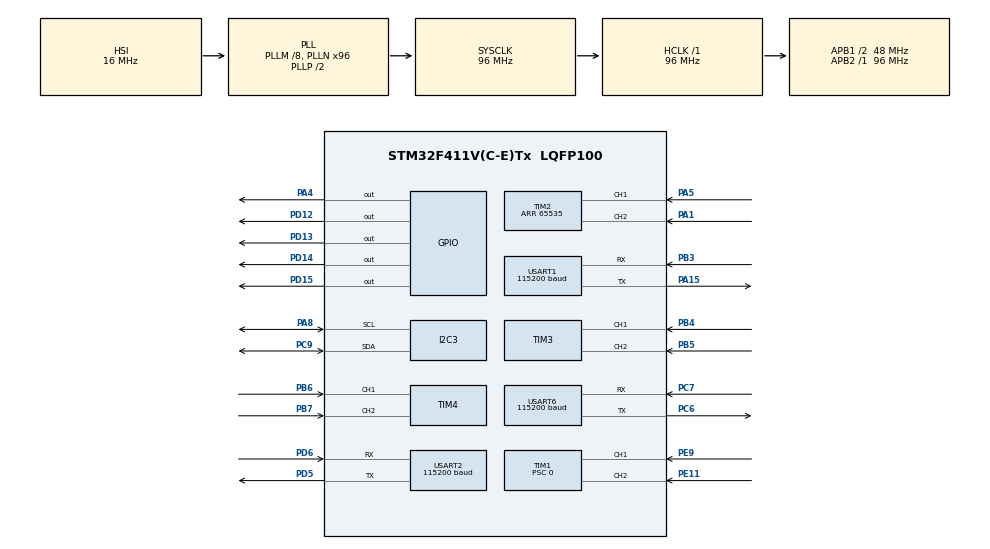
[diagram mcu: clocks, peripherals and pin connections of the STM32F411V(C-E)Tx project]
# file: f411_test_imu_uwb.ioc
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Mcu.Family=STM32F4
Mcu.Name=STM32F411V(C-E)Tx
Mcu.Package=LQFP100
NVIC.PriorityGroup=NVIC_PRIORITYGROUP_4
NVIC.TIM1_BRK_TIM9_IRQn=true\:2\:0\:true\:false\:true\:true\:true\:true
NVIC.USART1_IRQn=true\:0\:0\:true\:false\:true\:true\:true\:true
NVIC.USART2_IRQn=true\:1\:0\:true\:false\:true\:true\:true\:true
PA0-WKUP.Mode=SYS_WakeUp0
PA0-WKUP.Signal=SYS_WKUP
PA1.Signal=S_TIM2_CH2
PA13.Mode=Serial_Wire
PA13.Signal=SYS_JTMS-SWDIO
PA14.Mode=Serial_Wire
PA14.Signal=SYS_JTCK-SWCLK
PA15.Mode=Asynchronous
PA15.Signal=USART1_TX
PA4.Signal=GPIO_Output
PA5.Signal=S_TIM2_CH1_ETR
PA8.Mode=I2C
PA8.Signal=I2C3_SCL
PB3.Mode=Asynchronous
PB3.Signal=USART1_RX
PB4.Signal=S_TIM3_CH1
PB5.Signal=S_TIM3_CH2
PB6.Signal=S_TIM4_CH1
PB7.Signal=S_TIM4_CH2
PC6.Mode=Asynchronous
PC6.Signal=USART6_TX
PC7.Mode=Asynchronous
PC7.Signal=USART6_RX
PC9.Mode=I2C
PC9.Signal=I2C3_SDA
PD12.Signal=GPIO_Output
PD13.Signal=GPIO_Output
PD14.Signal=GPIO_Output
PD15.Signal=GPIO_Output
PD5.Mode=Asynchronous
PD5.Signal=USART2_TX
PD6.Mode=Asynchronous
PD6.Signal=USART2_RX
PE11.Signal=S_TIM1_CH2
PE9.Signal=S_TIM1_CH1
PH0\ -\ OSC_IN.Mode=HSE-External-Oscillator
PH0\ -\ OSC_IN.Signal=RCC_OSC_IN
PH1\ -\ OSC_OUT.Mode=HSE-External-Oscillator
PH1\ -\ OSC_OUT.Signal=RCC_OSC_OUT
ProjectManager.HeapSize=0x200
ProjectManager.StackSize=0x400
ProjectManager.TargetToolchain=STM32CubeIDE
RCC.48MHZClocksFreq_Value=48000000
RCC.AHBFreq_Value=96000000
RCC.APB1CLKDivider=RCC_HCLK_DIV2
RCC.APB1Freq_Value=48000000
RCC.APB1TimFreq_Value=96000000
RCC.APB2Freq_Value=96000000
RCC.APB2TimFreq_Value=96000000
RCC.CortexFreq_Value=96000000
RCC.HCLKFreq_Value=96000000
RCC.HSE_VALUE=25000000
RCC.HSI_VALUE=16000000
RCC.LSE_VALUE=32768
RCC.PLLM=8
RCC.PLLN=96
RCC.SYSCLKFreq_VALUE=96000000
RCC.SYSCLKSource=RCC_SYSCLKSOURCE_PLLCLK
RCC.VCOOutputFreq_Value=192000000
SH.S_TIM1_CH1.0=TIM1_CH1,Encoder_Interface
SH.S_TIM1_CH2.0=TIM1_CH2,Encoder_Interface
SH.S_TIM2_CH1_ETR.0=TIM2_CH1,Encoder_Interface
SH.S_TIM2_CH2.0=TIM2_CH2,Encoder_Interface
SH.S_TIM3_CH1.0=TIM3_CH1,Encoder_Interface
SH.S_TIM3_CH2.0=TIM3_CH2,Encoder_Interface
SH.S_TIM4_CH1.0=TIM4_CH1,Encoder_Interface
SH.S_TIM4_CH2.0=TIM4_CH2,Encoder_Interface
TIM1.EncoderMode=TIM_ENCODERMODE_TI12
TIM1.Period=65535
TIM1.Prescaler=0
TIM2.EncoderMode=TIM_ENCODERMODE_TI12
TIM2.Period=65535
TIM3.EncoderMode=TIM_ENCODERMODE_TI12
TIM4.EncoderMode=TIM_ENCODERMODE_TI12
TIM9.Period=9999
TIM9.Prescaler=959
USART1.BaudRate=115200
USART1.VirtualMode=VM_ASYNC
USART2.BaudRate=115200
USART2.VirtualMode=VM_ASYNC
USART6.BaudRate=115200
USART6.VirtualMode=VM_ASYNC
VP_TIM9_VS_ClockSourceINT.Mode=Internal
board=custom

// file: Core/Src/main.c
/* USER CODE BEGIN Header */
/**
  ******************************************************************************
  * @file           : main.c
  * @brief          : Main program body
  ******************************************************************************
  * @attention
  *
  * Copyright (c) 2024 STMicroelectronics.
  * All rights reserved.
  *
  * This software is licensed under terms that can be found in the LICENSE file
  * in the root directory of this software component.
  * If no LICENSE file comes with this software, it is provided AS-IS.
  *
  ******************************************************************************
  */
/* USER CODE END Header */
#include "main.h"

/* USER CODE BEGIN Includes */
#include "stdio.h"
#include "stdlib.h"
#include "string.h"
#include "bno055_stm32.h"
#include "math.h"
/* USER CODE END Includes */

/* USER CODE BEGIN PTD */
int check = 0;

char rx_buffer[100];
uint8_t rx_index = 0;
uint8_t rx_data_1[1] = {0};
uint8_t command_1;
float w1, w2, w3, w4;
float w1_sim, w2_sim, w3_sim, w4_sim;
float vx, vy;
char wheel[50];

uint8_t gpsData[1];
uint8_t gps_index = 0;
uint8_t gps_buffer[50];

float d1_pre = 0, d2_pre = 0;
float d1 = 0, d2 = 0;
int d1_flag = 0, d2_flag = 0;
float gpsVal = 0;
float x_p = 0, y_p = 0;
float* p[] = {&d1, &d2};
float d1_calib = 0, d2_calib = 0;
float cos_a;
float a, b;
#define  c  3.0
#define  h  0.3
char* token1;
char* token2;

volatile short cnt1 = 0, cnt_pre1 = 0;
volatile short cnt2 = 0, cnt_pre2 = 0;
volatile short cnt3 = 0, cnt_pre3 = 0;
volatile short cnt4 = 0, cnt_pre4 = 0;
volatile float rate1 = 0, rate2 = 0, rate3 = 0, rate4 = 0;
char position[50];

volatile float yaw = 0;
volatile float roll = 0;
volatile float pitch = 0;
volatile float xq, yq, zq;
char angle[100];
/* USER CODE END PTD */

/* USER CODE BEGIN PD */
bno055_vector_t v;
bno055_vector_t v2;
/* USER CODE END PD */

I2C_HandleTypeDef hi2c3;

TIM_HandleTypeDef htim1;
TIM_HandleTypeDef htim2;
TIM_HandleTypeDef htim3;
TIM_HandleTypeDef htim4;
TIM_HandleTypeDef htim9;

UART_HandleTypeDef huart1;
UART_HandleTypeDef huart2;
UART_HandleTypeDef huart6;

void SystemClock_Config(void);
static void MX_GPIO_Init(void);
static void MX_TIM1_Init(void);
static void MX_USART2_UART_Init(void);
static void MX_TIM2_Init(void);
static void MX_TIM3_Init(void);
static void MX_TIM4_Init(void);
static void MX_USART6_UART_Init(void);
static void MX_USART1_UART_Init(void);
static void MX_I2C3_Init(void);
static void MX_TIM9_Init(void);

/* USER CODE BEGIN 0 */
void pos_xy(float da, float db)
{
	a = db*db - h*h;
	a = sqrt(a);
	b = da*da - h*h;
	b = sqrt(b);

	cos_a = (b*b + c*c - a*a) / (2*b*c);
	x_p = b*cos_a;
	if((1 - cos_a*cos_a) >= 0)
	{
	  y_p = b*sqrt(1 - cos_a*cos_a);
	}
}

void HAL_TIM_PeriodElapsedCallback(TIM_HandleTypeDef *htim)
{
	if(htim->Instance == TIM9)
	{
		cnt4 = __HAL_TIM_GET_COUNTER(&htim1);
		cnt1 = __HAL_TIM_GET_COUNTER(&htim2);
		cnt3 = __HAL_TIM_GET_COUNTER(&htim3);
		cnt2 = __HAL_TIM_GET_COUNTER(&htim4);
		rate1 = ((float)(cnt1 - cnt_pre1)*60*15)/(60*990*0.1);
		rate2 = ((float)(cnt2 - cnt_pre2)*60*15)/(60*990*0.1);
		rate3 = ((float)(cnt3 - cnt_pre3)*60*15)/(60*990*0.1);
		rate4 = ((float)(cnt4 - cnt_pre4)*60*15)/(60*990*0.1);
		cnt_pre1 = cnt1;
		cnt_pre2 = cnt2;
		cnt_pre3 = cnt3;
		cnt_pre4 = cnt4;

		v = bno055_getVectorEuler();
		yaw = v.x;
		//yaw = (yaw/360)*2*3.1416;
		if ((yaw >= 0) && (yaw < 180))
		{
			yaw = -(yaw/360)*2*3.1416;

		}
		else
		{
			yaw = 360-yaw;
			yaw = (yaw/360)*2*3.1416;

		}
		zq = (0.048/(4*0.6))*(-rate1 + rate2 + rate3 - rate4)*2*3.1416/60;

		//v2 = bno055_getVectorGyroscope();
		//zq = v2.z;
		//zq = (zq/360)*2*3.1416;

		sprintf(position,"E=%.2f;%.2f;%.2f;%.2f;%.2f;%.2f;%.2f;%.2f\r\n",rate1,rate2,rate3,rate4,x_p,y_p,yaw,zq);
		HAL_UART_Transmit(&huart2, (uint8_t *)position, strlen(position),100);

        //if (position[0] == 'E' && position[1] == '=')
        //{
        //    HAL_UART_Transmit(&huart2, (uint8_t *)position, strlen(position), 100);
        //}
	}
}

void HAL_UART_RxCpltCallback(UART_HandleTypeDef *huart)
{
	if(huart->Instance == huart2.Instance)
	{
        if (rx_data_1[0] == '\n')
        {
            rx_buffer[rx_index] = '\n';
            //command_1 = rx_buffer[0];
            HAL_UART_Transmit(&huart6, (uint8_t *)rx_buffer, strlen(rx_buffer), 100);
            //HAL_UART_Transmit_DMA(&huart6, (uint8_t *)rx_buffer, strlen(rx_buffer));
	        memset(rx_buffer, 0, 100);
            rx_index = 0;
            HAL_UART_Receive_IT(&huart2, rx_data_1, 1);
        }
        else
        {
            rx_buffer[rx_index++] = rx_data_1[0];
            HAL_UART_Receive_IT(&huart2, rx_data_1, 1);
        }
	}

	if(huart->Instance == huart1.Instance)
	{
		if (gpsData[0] == '\n')
		{
			//gps_buffer[gps_index] = '\n';
			if (gps_buffer[0] == 'A')
			{
				token1 = strtok((char*) gps_buffer, "A");
				d1_pre = atof(token1);
				if (d1_flag == 0)
				{
					d1 = atof(token1);
					d1_flag = 1;
				}
				if (fabs(d1-d1_pre)<2 && d1_pre != 0)
				{
					d1 = d1_pre;
					d1_calib = d1 - 0.496;
					//d1_pre = 0;
				}
			}

			if (gps_buffer[0] == 'B')
			{
				token2 = strtok((char*) gps_buffer, "B");
				d2_pre = atof(token2);
				if (d2_flag == 0)
				{
					d2 = atof(token2);
					d2_flag = 1;
				}
				if (fabs(d2-d2_pre) < 10 && d2_pre != 0)
				{
					d2 = d2_pre;
					d2_calib = d2 - 0.776;
					//d2_pre = 0;
				}
			}

			pos_xy(d1_calib, d2_calib);
			memset(gps_buffer, 0, 50);
			gps_index = 0;
			HAL_UART_Receive_IT(&huart1, gpsData, 1);
		}
		else
		{
			gps_buffer[gps_index++] = gpsData[0];
			HAL_UART_Receive_IT(&huart1, gpsData, 1);
		}
	}
}

/* USER CODE END 0 */

int main(void)
{

  /* MCU Configuration--------------------------------------------------------*/

  /* Reset of all peripherals, Initializes the Flash interface and the Systick. */
  HAL_Init();

  /* Configure the system clock */
  SystemClock_Config();

  /* Initialize all configured peripherals */
  MX_GPIO_Init();
  MX_TIM1_Init();
  MX_USART2_UART_Init();
  MX_TIM2_Init();
  MX_TIM3_Init();
  MX_TIM4_Init();
  MX_USART6_UART_Init();
  MX_USART1_UART_Init();
  MX_I2C3_Init();
  MX_TIM9_Init();
  /* USER CODE BEGIN 2 */

  HAL_GPIO_WritePin(GPIOD, GPIO_PIN_15, SET);
  HAL_GPIO_WritePin(GPIOD, GPIO_PIN_14, SET);
  HAL_GPIO_WritePin(GPIOD, GPIO_PIN_13, SET);
  HAL_GPIO_WritePin(GPIOD, GPIO_PIN_12, SET);

  HAL_TIM_Encoder_Start(&htim1, TIM_CHANNEL_1);
  HAL_TIM_Encoder_Start(&htim1, TIM_CHANNEL_2);
  HAL_TIM_Encoder_Start(&htim2, TIM_CHANNEL_1);
  HAL_TIM_Encoder_Start(&htim2, TIM_CHANNEL_2);
  HAL_TIM_Encoder_Start(&htim3, TIM_CHANNEL_1);
  HAL_TIM_Encoder_Start(&htim3, TIM_CHANNEL_2);
  HAL_TIM_Encoder_Start(&htim4, TIM_CHANNEL_1);
  HAL_TIM_Encoder_Start(&htim4, TIM_CHANNEL_2);

  HAL_UART_Receive_IT(&huart1, gpsData, 1);
  HAL_UART_Receive_IT(&huart2, rx_data_1, 1);

  HAL_TIM_Base_Start_IT(&htim9);

  bno055_assignI2C(&hi2c3);
  bno055_setup();
  bno055_setOperationModeNDOF();

  /* USER CODE END 2 */

  /* Infinite loop */
  while (1)
  {

  }
}

void SystemClock_Config(void)
{
  RCC_OscInitTypeDef RCC_OscInitStruct = {0};
  RCC_ClkInitTypeDef RCC_ClkInitStruct = {0};

  /** Configure the main internal regulator output voltage
  */
  __HAL_RCC_PWR_CLK_ENABLE();
  __HAL_PWR_VOLTAGESCALING_CONFIG(PWR_REGULATOR_VOLTAGE_SCALE1);

  /** Initializes the RCC Oscillators according to the specified parameters
  * in the RCC_OscInitTypeDef structure.
  */
  RCC_OscInitStruct.OscillatorType = RCC_OSCILLATORTYPE_HSI;
  RCC_OscInitStruct.HSIState = RCC_HSI_ON;
  RCC_OscInitStruct.HSICalibrationValue = RCC_HSICALIBRATION_DEFAULT;
  RCC_OscInitStruct.PLL.PLLState = RCC_PLL_ON;
  RCC_OscInitStruct.PLL.PLLSource = RCC_PLLSOURCE_HSI;
  RCC_OscInitStruct.PLL.PLLM = 8;
  RCC_OscInitStruct.PLL.PLLN = 96;
  RCC_OscInitStruct.PLL.PLLP = RCC_PLLP_DIV2;
  RCC_OscInitStruct.PLL.PLLQ = 4;
  if (HAL_RCC_OscConfig(&RCC_OscInitStruct) != HAL_OK)
  {
    Error_Handler();
  }

  /** Initializes the CPU, AHB and APB buses clocks
  */
  RCC_ClkInitStruct.ClockType = RCC_CLOCKTYPE_HCLK|RCC_CLOCKTYPE_SYSCLK
                              |RCC_CLOCKTYPE_PCLK1|RCC_CLOCKTYPE_PCLK2;
  RCC_ClkInitStruct.SYSCLKSource = RCC_SYSCLKSOURCE_PLLCLK;
  RCC_ClkInitStruct.AHBCLKDivider = RCC_SYSCLK_DIV1;
  RCC_ClkInitStruct.APB1CLKDivider = RCC_HCLK_DIV2;
  RCC_ClkInitStruct.APB2CLKDivider = RCC_HCLK_DIV1;

  if (HAL_RCC_ClockConfig(&RCC_ClkInitStruct, FLASH_LATENCY_3) != HAL_OK)
  {
    Error_Handler();
  }
}

static void MX_I2C3_Init(void)
{

  hi2c3.Instance = I2C3;
  hi2c3.Init.ClockSpeed = 100000;
  hi2c3.Init.DutyCycle = I2C_DUTYCYCLE_2;
  hi2c3.Init.OwnAddress1 = 0;
  hi2c3.Init.AddressingMode = I2C_ADDRESSINGMODE_7BIT;
  hi2c3.Init.DualAddressMode = I2C_DUALADDRESS_DISABLE;
  hi2c3.Init.OwnAddress2 = 0;
  hi2c3.Init.GeneralCallMode = I2C_GENERALCALL_DISABLE;
  hi2c3.Init.NoStretchMode = I2C_NOSTRETCH_DISABLE;
  if (HAL_I2C_Init(&hi2c3) != HAL_OK)
  {
    Error_Handler();
  }

}

static void MX_TIM1_Init(void)
{

  TIM_Encoder_InitTypeDef sConfig = {0};
  TIM_MasterConfigTypeDef sMasterConfig = {0};

  htim1.Instance = TIM1;
  htim1.Init.Prescaler = 0;
  htim1.Init.CounterMode = TIM_COUNTERMODE_UP;
  htim1.Init.Period = 65535;
  htim1.Init.ClockDivision = TIM_CLOCKDIVISION_DIV1;
  htim1.Init.RepetitionCounter = 0;
  htim1.Init.AutoReloadPreload = TIM_AUTORELOAD_PRELOAD_DISABLE;
  sConfig.EncoderMode = TIM_ENCODERMODE_TI12;
  sConfig.IC1Polarity = TIM_ICPOLARITY_RISING;
  sConfig.IC1Selection = TIM_ICSELECTION_DIRECTTI;
  sConfig.IC1Prescaler = TIM_ICPSC_DIV1;
  sConfig.IC1Filter = 0;
  sConfig.IC2Polarity = TIM_ICPOLARITY_RISING;
  sConfig.IC2Selection = TIM_ICSELECTION_DIRECTTI;
  sConfig.IC2Prescaler = TIM_ICPSC_DIV1;
  sConfig.IC2Filter = 0;
  if (HAL_TIM_Encoder_Init(&htim1, &sConfig) != HAL_OK)
  {
    Error_Handler();
  }
  sMasterConfig.MasterOutputTrigger = TIM_TRGO_RESET;
  sMasterConfig.MasterSlaveMode = TIM_MASTERSLAVEMODE_DISABLE;
  if (HAL_TIMEx_MasterConfigSynchronization(&htim1, &sMasterConfig) != HAL_OK)
  {
    Error_Handler();
  }

}

static void MX_TIM2_Init(void)
{

  TIM_Encoder_InitTypeDef sConfig = {0};
  TIM_MasterConfigTypeDef sMasterConfig = {0};

  htim2.Instance = TIM2;
  htim2.Init.Prescaler = 0;
  htim2.Init.CounterMode = TIM_COUNTERMODE_UP;
  htim2.Init.Period = 65535;
  htim2.Init.ClockDivision = TIM_CLOCKDIVISION_DIV1;
  htim2.Init.AutoReloadPreload = TIM_AUTORELOAD_PRELOAD_DISABLE;
  sConfig.EncoderMode = TIM_ENCODERMODE_TI12;
  sConfig.IC1Polarity = TIM_ICPOLARITY_RISING;
  sConfig.IC1Selection = TIM_ICSELECTION_DIRECTTI;
  sConfig.IC1Prescaler = TIM_ICPSC_DIV1;
  sConfig.IC1Filter = 0;
  sConfig.IC2Polarity = TIM_ICPOLARITY_RISING;
  sConfig.IC2Selection = TIM_ICSELECTION_DIRECTTI;
  sConfig.IC2Prescaler = TIM_ICPSC_DIV1;
  sConfig.IC2Filter = 0;
  if (HAL_TIM_Encoder_Init(&htim2, &sConfig) != HAL_OK)
  {
    Error_Handler();
  }
  sMasterConfig.MasterOutputTrigger = TIM_TRGO_RESET;
  sMasterConfig.MasterSlaveMode = TIM_MASTERSLAVEMODE_DISABLE;
  if (HAL_TIMEx_MasterConfigSynchronization(&htim2, &sMasterConfig) != HAL_OK)
  {
    Error_Handler();
  }

}

static void MX_TIM3_Init(void)
{

  TIM_Encoder_InitTypeDef sConfig = {0};
  TIM_MasterConfigTypeDef sMasterConfig = {0};

  htim3.Instance = TIM3;
  htim3.Init.Prescaler = 0;
  htim3.Init.CounterMode = TIM_COUNTERMODE_UP;
  htim3.Init.Period = 65535;
  htim3.Init.ClockDivision = TIM_CLOCKDIVISION_DIV1;
  htim3.Init.AutoReloadPreload = TIM_AUTORELOAD_PRELOAD_DISABLE;
  sConfig.EncoderMode = TIM_ENCODERMODE_TI12;
  sConfig.IC1Polarity = TIM_ICPOLARITY_RISING;
  sConfig.IC1Selection = TIM_ICSELECTION_DIRECTTI;
  sConfig.IC1Prescaler = TIM_ICPSC_DIV1;
  sConfig.IC1Filter = 0;
  sConfig.IC2Polarity = TIM_ICPOLARITY_RISING;
  sConfig.IC2Selection = TIM_ICSELECTION_DIRECTTI;
  sConfig.IC2Prescaler = TIM_ICPSC_DIV1;
  sConfig.IC2Filter = 0;
  if (HAL_TIM_Encoder_Init(&htim3, &sConfig) != HAL_OK)
  {
    Error_Handler();
  }
  sMasterConfig.MasterOutputTrigger = TIM_TRGO_RESET;
  sMasterConfig.MasterSlaveMode = TIM_MASTERSLAVEMODE_DISABLE;
  if (HAL_TIMEx_MasterConfigSynchronization(&htim3, &sMasterConfig) != HAL_OK)
  {
    Error_Handler();
  }

}

static void MX_TIM4_Init(void)
{

  TIM_Encoder_InitTypeDef sConfig = {0};
  TIM_MasterConfigTypeDef sMasterConfig = {0};

  htim4.Instance = TIM4;
  htim4.Init.Prescaler = 0;
  htim4.Init.CounterMode = TIM_COUNTERMODE_UP;
  htim4.Init.Period = 65535;
  htim4.Init.ClockDivision = TIM_CLOCKDIVISION_DIV1;
  htim4.Init.AutoReloadPreload = TIM_AUTORELOAD_PRELOAD_DISABLE;
  sConfig.EncoderMode = TIM_ENCODERMODE_TI12;
  sConfig.IC1Polarity = TIM_ICPOLARITY_RISING;
  sConfig.IC1Selection = TIM_ICSELECTION_DIRECTTI;
  sConfig.IC1Prescaler = TIM_ICPSC_DIV1;
  sConfig.IC1Filter = 0;
  sConfig.IC2Polarity = TIM_ICPOLARITY_RISING;
  sConfig.IC2Selection = TIM_ICSELECTION_DIRECTTI;
  sConfig.IC2Prescaler = TIM_ICPSC_DIV1;
  sConfig.IC2Filter = 0;
  if (HAL_TIM_Encoder_Init(&htim4, &sConfig) != HAL_OK)
  {
    Error_Handler();
  }
  sMasterConfig.MasterOutputTrigger = TIM_TRGO_RESET;
  sMasterConfig.MasterSlaveMode = TIM_MASTERSLAVEMODE_DISABLE;
  if (HAL_TIMEx_MasterConfigSynchronization(&htim4, &sMasterConfig) != HAL_OK)
  {
    Error_Handler();
  }

}

static void MX_TIM9_Init(void)
{

  TIM_ClockConfigTypeDef sClockSourceConfig = {0};

  htim9.Instance = TIM9;
  htim9.Init.Prescaler = 959;
  htim9.Init.CounterMode = TIM_COUNTERMODE_UP;
  htim9.Init.Period = 9999;
  htim9.Init.ClockDivision = TIM_CLOCKDIVISION_DIV1;
  htim9.Init.AutoReloadPreload = TIM_AUTORELOAD_PRELOAD_DISABLE;
  if (HAL_TIM_Base_Init(&htim9) != HAL_OK)
  {
    Error_Handler();
  }
  sClockSourceConfig.ClockSource = TIM_CLOCKSOURCE_INTERNAL;
  if (HAL_TIM_ConfigClockSource(&htim9, &sClockSourceConfig) != HAL_OK)
  {
    Error_Handler();
  }

}

static void MX_USART1_UART_Init(void)
{

  huart1.Instance = USART1;
  huart1.Init.BaudRate = 115200;
  huart1.Init.WordLength = UART_WORDLENGTH_8B;
  huart1.Init.StopBits = UART_STOPBITS_1;
  huart1.Init.Parity = UART_PARITY_NONE;
  huart1.Init.Mode = UART_MODE_TX_RX;
  huart1.Init.HwFlowCtl = UART_HWCONTROL_NONE;
  huart1.Init.OverSampling = UART_OVERSAMPLING_16;
  if (HAL_UART_Init(&huart1) != HAL_OK)
  {
    Error_Handler();
  }

}

static void MX_USART2_UART_Init(void)
{

  huart2.Instance = USART2;
  huart2.Init.BaudRate = 115200;
  huart2.Init.WordLength = UART_WORDLENGTH_8B;
  huart2.Init.StopBits = UART_STOPBITS_1;
  huart2.Init.Parity = UART_PARITY_NONE;
  huart2.Init.Mode = UART_MODE_TX_RX;
  huart2.Init.HwFlowCtl = UART_HWCONTROL_NONE;
  huart2.Init.OverSampling = UART_OVERSAMPLING_16;
  if (HAL_UART_Init(&huart2) != HAL_OK)
  {
    Error_Handler();
  }

}

static void MX_USART6_UART_Init(void)
{

  huart6.Instance = USART6;
  huart6.Init.BaudRate = 115200;
  huart6.Init.WordLength = UART_WORDLENGTH_8B;
  huart6.Init.StopBits = UART_STOPBITS_1;
  huart6.Init.Parity = UART_PARITY_NONE;
  huart6.Init.Mode = UART_MODE_TX_RX;
  huart6.Init.HwFlowCtl = UART_HWCONTROL_NONE;
  huart6.Init.OverSampling = UART_OVERSAMPLING_16;
  if (HAL_UART_Init(&huart6) != HAL_OK)
  {
    Error_Handler();
  }

}

static void MX_GPIO_Init(void)
{
  GPIO_InitTypeDef GPIO_InitStruct = {0};

  /* GPIO Ports Clock Enable */
  __HAL_RCC_GPIOH_CLK_ENABLE();
  __HAL_RCC_GPIOA_CLK_ENABLE();
  __HAL_RCC_GPIOE_CLK_ENABLE();
  __HAL_RCC_GPIOD_CLK_ENABLE();
  __HAL_RCC_GPIOC_CLK_ENABLE();
  __HAL_RCC_GPIOB_CLK_ENABLE();

  /*Configure GPIO pin Output Level */
  HAL_GPIO_WritePin(GPIOA, GPIO_PIN_4, GPIO_PIN_RESET);

  /*Configure GPIO pin Output Level */
  HAL_GPIO_WritePin(GPIOD, GPIO_PIN_12|GPIO_PIN_13|GPIO_PIN_14|GPIO_PIN_15, GPIO_PIN_RESET);

  /*Configure GPIO pin : PA4 */
  GPIO_InitStruct.Pin = GPIO_PIN_4;
  GPIO_InitStruct.Mode = GPIO_MODE_OUTPUT_PP;
  GPIO_InitStruct.Pull = GPIO_NOPULL;
  GPIO_InitStruct.Speed = GPIO_SPEED_FREQ_LOW;
  HAL_GPIO_Init(GPIOA, &GPIO_InitStruct);

  /*Configure GPIO pins : PD12 PD13 PD14 PD15 */
  GPIO_InitStruct.Pin = GPIO_PIN_12|GPIO_PIN_13|GPIO_PIN_14|GPIO_PIN_15;
  GPIO_InitStruct.Mode = GPIO_MODE_OUTPUT_PP;
  GPIO_InitStruct.Pull = GPIO_NOPULL;
  GPIO_InitStruct.Speed = GPIO_SPEED_FREQ_LOW;
  HAL_GPIO_Init(GPIOD, &GPIO_InitStruct);

}

void Error_Handler(void)
{
  __disable_irq();
  while (1)
  {
  }
}
